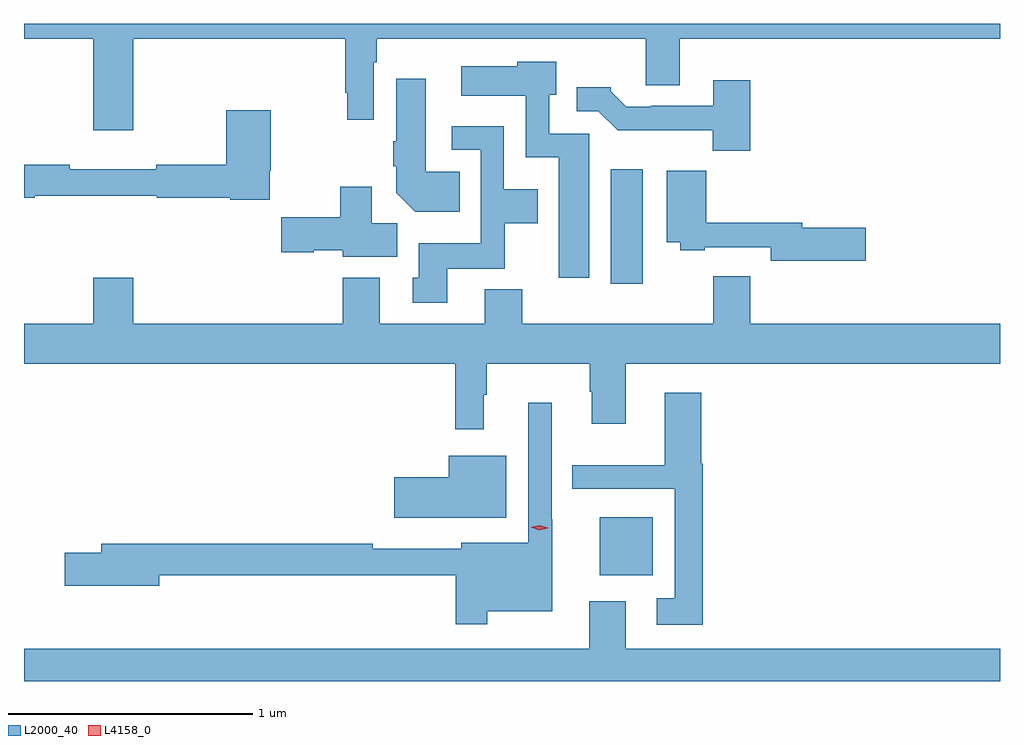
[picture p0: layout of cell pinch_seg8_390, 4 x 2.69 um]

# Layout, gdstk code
import gdstk
lib = gdstk.Library(unit=1e-6, precision=1e-09)
def R(c, l, rs):  # rectangles x0, y0, x1, y1
    for r in rs: c.add(gdstk.rectangle(r[:2], r[2:], *l))
def P(c, l, *ps):  # polygons
    for p in ps: c.add(gdstk.Polygon(p, *l))
L2000_40 = (2000, 40)
L4158_0 = (4158, 0)

pinch_seg8_390 = lib.new_cell('pinch_seg8_390')
R(pinch_seg8_390, L2000_40, [(514.736,1082.333,514.954,1082.572), (514.781,1083.528,514.912,1083.997)])
P(pinch_seg8_390, L2000_40, [(512.824,1084.532),(513.694,1084.532),(513.694,1084.312),(513.702,1084.312),(513.702,1084.2),(513.81,1084.2),(513.81,1084.436),(513.823,1084.436),(513.823,1084.532),(514.925,1084.532),(514.925,1084.342),(515.065,1084.342),(515.065,1084.532),(516.377,1084.532),(516.377,1084.593),(512.377,1084.593),(512.377,1084.532),(512.66,1084.532),(512.66,1084.158),(512.824,1084.158)],
  [(514.693,1084.143),(514.53,1084.143),(514.53,1084.302),(514.558,1084.302),(514.558,1084.438),(514.398,1084.438),(514.398,1084.42),(514.17,1084.42),(514.17,1084.298),(514.434,1084.298),(514.434,1084.046),(514.568,1084.046),(514.568,1083.552),(514.693,1083.552)],
  [(514.163,1083.988),(514.024,1083.988),(514.024,1084.369),(513.902,1084.369),(513.902,1084.112),(513.89,1084.112),(513.89,1084.009),(513.902,1084.009),(513.902,1083.902),(513.98,1083.824),(514.163,1083.824)],
  [(515.354,1084.363),(515.201,1084.363),(515.201,1084.257),(514.945,1084.257),(514.945,1084.254),(514.846,1084.254),(514.782,1084.318),(514.782,1084.333),(514.643,1084.333),(514.643,1084.236),(514.731,1084.236),(514.81,1084.158),(515.199,1084.158),(515.199,1084.073),(515.354,1084.073)],
  [(513.384,1083.991),(513.389,1083.991),(513.389,1084.24),(513.206,1084.24),(513.206,1084.016),(512.92,1084.016),(512.92,1083.997),(512.564,1083.997),(512.564,1084.016),(512.377,1084.016),(512.377,1083.88),(512.422,1083.88),(512.422,1083.888),(512.922,1083.888),(512.922,1083.88),(513.222,1083.88),(513.222,1083.872),(513.384,1083.872)],
  [(514.111,1083.59),(514.347,1083.59),(514.347,1083.776),(514.483,1083.776),(514.483,1083.916),(514.344,1083.916),(514.344,1084.173),(514.131,1084.173),(514.131,1084.077),(514.248,1084.077),(514.248,1083.694),(513.995,1083.694),(513.995,1083.552),(513.971,1083.552),(513.971,1083.45),(514.111,1083.45)],
  [(515.827,1083.758),(515.566,1083.758),(515.566,1083.779),(515.174,1083.779),(515.174,1083.991),(515.012,1083.991),(515.012,1083.698),(515.067,1083.698),(515.067,1083.666),(515.167,1083.666),(515.167,1083.678),(515.438,1083.678),(515.438,1083.623),(515.827,1083.623)],
  [(513.907,1083.776),(513.802,1083.776),(513.802,1083.925),(513.673,1083.925),(513.673,1083.8),(513.432,1083.8),(513.432,1083.658),(513.564,1083.658),(513.564,1083.665),(513.684,1083.665),(513.684,1083.638),(513.907,1083.638)],
  [(514.696,1083.086),(514.703,1083.086),(514.703,1082.955),(514.843,1082.955),(514.843,1083.2),(516.377,1083.2),(516.377,1083.364),(515.354,1083.364),(515.354,1083.559),(515.201,1083.559),(515.201,1083.364),(514.418,1083.364),(514.418,1083.505),(514.265,1083.505),(514.265,1083.364),(513.835,1083.364),(513.835,1083.553),(513.683,1083.553),(513.683,1083.364),(512.824,1083.364),(512.824,1083.553),(512.66,1083.553),(512.66,1083.364),(512.377,1083.364),(512.377,1083.2),(514.144,1083.2),(514.144,1082.931),(514.262,1082.931),(514.262,1083.074),(514.273,1083.074),(514.273,1083.2),(514.696,1083.2)],
  [(515.159,1082.791),(515.153,1082.791),(515.153,1083.082),(515.003,1083.082),(515.003,1082.785),(514.624,1082.785),(514.624,1082.688),(515.043,1082.688),(515.043,1082.239),(514.971,1082.239),(514.971,1082.13),(515.159,1082.13)],
  [(514.276,1082.186),(514.541,1082.186),(514.541,1082.563),(514.539,1082.563),(514.539,1083.04),(514.443,1083.04),(514.443,1082.467),(514.17,1082.467),(514.17,1082.442),(513.806,1082.442),(513.806,1082.462),(512.693,1082.462),(512.693,1082.426),(512.544,1082.426),(512.544,1082.291),(512.932,1082.291),(512.932,1082.334),(514.147,1082.334),(514.147,1082.133),(514.276,1082.133)],
  [(514.354,1082.824),(514.118,1082.824),(514.118,1082.736),(513.894,1082.736),(513.894,1082.57),(514.354,1082.57)],
  [(516.377,1082.032),(514.843,1082.032),(514.843,1082.227),(514.694,1082.227),(514.694,1082.032),(512.377,1082.032),(512.377,1081.9),(516.377,1081.9)])
P(pinch_seg8_390, L4158_0, [(514.488,1082.519),(514.453,1082.531),(514.453,1082.531),(514.453,1082.531),(514.489,1082.539),(514.524,1082.528),(514.524,1082.528),(514.524,1082.527)])

lib.write_gds('pinch_seg8_390.gds')
